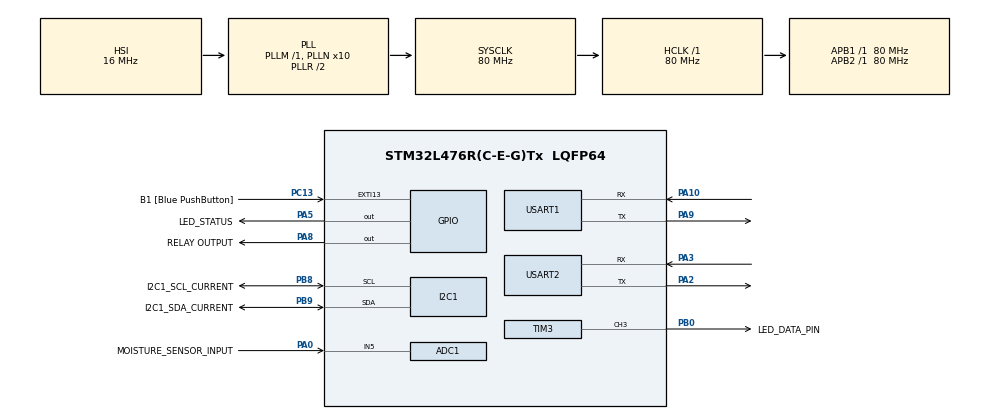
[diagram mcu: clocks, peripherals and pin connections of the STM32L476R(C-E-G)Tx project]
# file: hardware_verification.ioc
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ADC1.Channel-0\#ChannelRegularConversion=ADC_CHANNEL_5
ADC1.NbrOfConversionFlag=1
ADC1.OffsetNumber-0\#ChannelRegularConversion=ADC_OFFSET_NONE
ADC1.Rank-0\#ChannelRegularConversion=1
ADC1.SamplingTime-0\#ChannelRegularConversion=ADC_SAMPLETIME_2CYCLES_5
ADC1.master=1
Dma.Request0=TIM3_CH3
Dma.TIM3_CH3.0.Direction=DMA_MEMORY_TO_PERIPH
Dma.TIM3_CH3.0.Instance=DMA1_Channel2
Dma.TIM3_CH3.0.MemDataAlignment=DMA_MDATAALIGN_HALFWORD
Dma.TIM3_CH3.0.MemInc=DMA_MINC_ENABLE
Dma.TIM3_CH3.0.Mode=DMA_NORMAL
Dma.TIM3_CH3.0.PeriphDataAlignment=DMA_PDATAALIGN_HALFWORD
Dma.TIM3_CH3.0.PeriphInc=DMA_PINC_DISABLE
Dma.TIM3_CH3.0.Priority=DMA_PRIORITY_VERY_HIGH
I2C1.Timing=0x10D19CE4
Mcu.Family=STM32L4
Mcu.Name=STM32L476R(C-E-G)Tx
Mcu.Package=LQFP64
NVIC.DMA1_Channel2_IRQn=true\:0\:0\:false\:false\:true\:false\:true\:true
NVIC.PriorityGroup=NVIC_PRIORITYGROUP_4
NVIC.USART1_IRQn=true\:0\:0\:false\:false\:true\:true\:true\:true
NVIC.USART2_IRQn=true\:0\:0\:false\:false\:true\:true\:true\:true
PA0.GPIO_Label=MOISTURE_SENSOR_INPUT
PA0.Signal=ADCx_IN5
PA10.Mode=Asynchronous
PA10.Signal=USART1_RX
PA13\ (JTMS-SWDIO).GPIO_Label=TMS
PA13\ (JTMS-SWDIO).Mode=Serial_Wire
PA13\ (JTMS-SWDIO).Signal=SYS_JTMS-SWDIO
PA14\ (JTCK-SWCLK).GPIO_Label=TCK
PA14\ (JTCK-SWCLK).Mode=Serial_Wire
PA14\ (JTCK-SWCLK).Signal=SYS_JTCK-SWCLK
PA2.Mode=Asynchronous
PA2.Signal=USART2_TX
PA3.Mode=Asynchronous
PA3.Signal=USART2_RX
PA5.GPIO_Label=LED_STATUS
PA5.Signal=GPIO_Output
PA8.GPIO_Label=RELAY OUTPUT
PA8.Signal=GPIO_Output
PA9.Mode=Asynchronous
PA9.Signal=USART1_TX
PB0.GPIO_Label=LED_DATA_PIN
PB0.GPIO_Speed=GPIO_SPEED_FREQ_VERY_HIGH
PB0.Signal=S_TIM3_CH3
PB3\ (JTDO-TRACESWO).GPIO_Label=SWO
PB3\ (JTDO-TRACESWO).Signal=SYS_JTDO-SWO
PB8.GPIO_Label=I2C1_SCL_CURRENT
PB8.GPIO_Pu=GPIO_PULLUP
PB8.Mode=I2C
PB8.Signal=I2C1_SCL
PB9.GPIO_Label=I2C1_SDA_CURRENT
PB9.GPIO_Pu=GPIO_PULLUP
PB9.Mode=I2C
PB9.Signal=I2C1_SDA
PC13.GPIO_Label=B1 [Blue PushButton]
PC13.GPIO_ModeDefaultEXTI=GPIO_MODE_IT_FALLING
PC13.GPIO_PuPd=GPIO_NOPULL
PC13.Signal=GPXTI13
PC14-OSC32_IN\ (PC14).Signal=RCC_OSC32_IN
PC15-OSC32_OUT\ (PC15).Signal=RCC_OSC32_OUT
PH0-OSC_IN\ (PH0).Mode=HSE-External-Oscillator
PH0-OSC_IN\ (PH0).Signal=RCC_OSC_IN
PH1-OSC_OUT\ (PH1).Mode=HSE-External-Oscillator
PH1-OSC_OUT\ (PH1).Signal=RCC_OSC_OUT
ProjectManager.HeapSize=0x200
ProjectManager.StackSize=0x400
ProjectManager.TargetToolchain=STM32CubeIDE
RCC.ADCFreq_Value=64000000
RCC.AHBFreq_Value=80000000
RCC.APB1Freq_Value=80000000
RCC.APB1TimFreq_Value=80000000
RCC.APB2Freq_Value=80000000
RCC.APB2TimFreq_Value=80000000
RCC.CortexFreq_Value=80000000
RCC.HCLKFreq_Value=80000000
RCC.HSE_VALUE=8000000
RCC.HSI_VALUE=16000000
RCC.LSE_VALUE=32768
RCC.MSI_VALUE=4000000
RCC.PLLN=10
RCC.PLLSourceVirtual=RCC_PLLSOURCE_HSI
RCC.PREFETCH_ENABLE=1
RCC.SYSCLKFreq_VALUE=80000000
RCC.SYSCLKSource=RCC_SYSCLKSOURCE_PLLCLK
RCC.USBFreq_Value=64000000
RCC.VCOOutputFreq_Value=160000000
SH.ADCx_IN5.0=ADC1_IN5,IN5-Single-Ended
SH.S_TIM3_CH3.0=TIM3_CH3,PWM Generation3 CH3
TIM3.Channel-PWM\ Generation3\ CH3=TIM_CHANNEL_3
TIM3.Period=99
USART1.VirtualMode-Asynchronous=VM_ASYNC
USART2.VirtualMode-Asynchronous=VM_ASYNC
VP_TIM3_VS_ClockSourceINT.Mode=Internal
board=NUCLEO-L476RG

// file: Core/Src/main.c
/* USER CODE BEGIN Header */
/**
  ******************************************************************************
  * @file           : main.c
  * @brief          : Relay Test
  ******************************************************************************
  * @attention
  *
  * Copyright (c) 2025 STMicroelectronics.
  * All rights reserved.
  *
  * Licensed under terms in LICENSE file in root directory.
  *
  ******************************************************************************
  */
/* USER CODE END Header */
#include <ina219.h>
#include <relay_pump.h>
#include "main.h"

/* USER CODE BEGIN Includes */
#include "ws28xx.h"
#include "uart_comms.h"
#include <stdio.h>
#include "NimaLTD.I-CUBE-WS28XX_conf.h"
#include "moisture_sensor.h"   // <-- REQUIRED so compiler sees MoistureSensor_Init
#include <stdint.h>
#include <uart_debug.h>
#include "stm32l4xx_hal.h"
#include "grow_led.h"
#include "rtos.h"
#include "rtos_tasks.h"
#include "system_state.h"
#include "uart_queue.h"
#include "moisture_model.h"

/* USER CODE END Includes */

ADC_HandleTypeDef hadc1;

I2C_HandleTypeDef hi2c1;

TIM_HandleTypeDef htim3;
DMA_HandleTypeDef hdma_tim3_ch3;

UART_HandleTypeDef huart1;
UART_HandleTypeDef huart2;

/* USER CODE BEGIN PV */
char msg[64];
/* USER CODE END PV */

void SystemClock_Config(void);
static void MX_GPIO_Init(void);
static void MX_DMA_Init(void);
static void MX_ADC1_Init(void);
static void MX_I2C1_Init(void);
static void MX_USART1_UART_Init(void);
static void MX_TIM3_Init(void);
static void MX_USART2_UART_Init(void);

int main(void)
{

  /* MCU Configuration--------------------------------------------------------*/

  /* Reset of all peripherals, Initializes the Flash interface and the Systick. */
  HAL_Init();

  /* Configure the system clock */
  SystemClock_Config();

  /* Initialize all configured peripherals */
  MX_GPIO_Init();
  MX_DMA_Init();
  MX_ADC1_Init();
  MX_I2C1_Init();
  MX_USART1_UART_Init();
  MX_TIM3_Init();
  MX_USART2_UART_Init();
  /* USER CODE BEGIN 2 */
  HAL_GPIO_WritePin(GPIOA, LED_STATUS_Pin|RELAY_OUTPUT_Pin, GPIO_PIN_RESET);

  // ========== MODULE INITIALIZATION ==========
      Debug_Print("System Boot...\r\n");

      MoistureSensor_Init();
      Pump_Init();

      // ----- GROW LED TEST SEQUENCE -----
      init_grow_leds();                // 1) init + show blue

      INA219_Init();

      Debug_Print("All Modules Initialized.\r\n");

  /* USER CODE END 2 */

  /* Infinite loop */
  /* USER CODE BEGIN WHILE */
      /* USER CODE BEGIN WHILE */
      // ----- STATE + UART + RTOS SETUP -----
      State_Init();        // sets AUTO mode, WET, no FAIL, LED purple

      UART_Init();         // starts UART1 RX interrupt for command parsing

      RTOS_Init();
      UQ_Init();

      // Add tasks: (function, initialState, period_ms)
      // Period values assume your RTOS template uses ms units.
      RTOS_AddTask(Task_UART,      1, 500);   // every 50 ms
      RTOS_AddTask(Task_Moisture,  1, 5000);   // every 5000 ms
      RTOS_AddTask(Task_INA219,    1, 5000);   // every 5000 ms
      RTOS_AddTask(Task_Pump,      1, 5000);   // every 200 ms
      RTOS_AddTask(Task_LED,       1, 10000);   // every 200 ms
      RTOS_AddTask(Task_Heartbeat, 1, 2000);  // every 2 s (debug)

      Debug_Print("RTOS: Tasks registered\r\n");

      // Start scheduler (never returns)

      while (1)
      {
    	  RTOS_Run();// small CPU break

      }

}

    /* USER CODE END WHILE */

void SystemClock_Config(void)
{
  RCC_OscInitTypeDef RCC_OscInitStruct = {0};
  RCC_ClkInitTypeDef RCC_ClkInitStruct = {0};

  /** Configure the main internal regulator output voltage
  */
  if (HAL_PWREx_ControlVoltageScaling(PWR_REGULATOR_VOLTAGE_SCALE1) != HAL_OK)
  {
    Error_Handler();
  }

  /** Initializes the RCC Oscillators according to the specified parameters
  * in the RCC_OscInitTypeDef structure.
  */
  RCC_OscInitStruct.OscillatorType = RCC_OSCILLATORTYPE_HSI;
  RCC_OscInitStruct.HSIState = RCC_HSI_ON;
  RCC_OscInitStruct.HSICalibrationValue = RCC_HSICALIBRATION_DEFAULT;
  RCC_OscInitStruct.PLL.PLLState = RCC_PLL_ON;
  RCC_OscInitStruct.PLL.PLLSource = RCC_PLLSOURCE_HSI;
  RCC_OscInitStruct.PLL.PLLM = 1;
  RCC_OscInitStruct.PLL.PLLN = 10;
  RCC_OscInitStruct.PLL.PLLP = RCC_PLLP_DIV7;
  RCC_OscInitStruct.PLL.PLLQ = RCC_PLLQ_DIV2;
  RCC_OscInitStruct.PLL.PLLR = RCC_PLLR_DIV2;
  if (HAL_RCC_OscConfig(&RCC_OscInitStruct) != HAL_OK)
  {
    Error_Handler();
  }

  /** Initializes the CPU, AHB and APB buses clocks
  */
  RCC_ClkInitStruct.ClockType = RCC_CLOCKTYPE_HCLK|RCC_CLOCKTYPE_SYSCLK
                              |RCC_CLOCKTYPE_PCLK1|RCC_CLOCKTYPE_PCLK2;
  RCC_ClkInitStruct.SYSCLKSource = RCC_SYSCLKSOURCE_PLLCLK;
  RCC_ClkInitStruct.AHBCLKDivider = RCC_SYSCLK_DIV1;
  RCC_ClkInitStruct.APB1CLKDivider = RCC_HCLK_DIV1;
  RCC_ClkInitStruct.APB2CLKDivider = RCC_HCLK_DIV1;

  if (HAL_RCC_ClockConfig(&RCC_ClkInitStruct, FLASH_LATENCY_4) != HAL_OK)
  {
    Error_Handler();
  }
}

static void MX_ADC1_Init(void)
{

  ADC_MultiModeTypeDef multimode = {0};
  ADC_ChannelConfTypeDef sConfig = {0};

  /** Common config
  */
  hadc1.Instance = ADC1;
  hadc1.Init.ClockPrescaler = ADC_CLOCK_ASYNC_DIV1;
  hadc1.Init.Resolution = ADC_RESOLUTION_12B;
  hadc1.Init.DataAlign = ADC_DATAALIGN_RIGHT;
  hadc1.Init.ScanConvMode = ADC_SCAN_DISABLE;
  hadc1.Init.EOCSelection = ADC_EOC_SINGLE_CONV;
  hadc1.Init.LowPowerAutoWait = DISABLE;
  hadc1.Init.ContinuousConvMode = DISABLE;
  hadc1.Init.NbrOfConversion = 1;
  hadc1.Init.DiscontinuousConvMode = DISABLE;
  hadc1.Init.ExternalTrigConv = ADC_SOFTWARE_START;
  hadc1.Init.ExternalTrigConvEdge = ADC_EXTERNALTRIGCONVEDGE_NONE;
  hadc1.Init.DMAContinuousRequests = DISABLE;
  hadc1.Init.Overrun = ADC_OVR_DATA_PRESERVED;
  hadc1.Init.OversamplingMode = DISABLE;
  if (HAL_ADC_Init(&hadc1) != HAL_OK)
  {
    Error_Handler();
  }

  /** Configure the ADC multi-mode
  */
  multimode.Mode = ADC_MODE_INDEPENDENT;
  if (HAL_ADCEx_MultiModeConfigChannel(&hadc1, &multimode) != HAL_OK)
  {
    Error_Handler();
  }

  /** Configure Regular Channel
  */
  sConfig.Channel = ADC_CHANNEL_5;
  sConfig.Rank = ADC_REGULAR_RANK_1;
  sConfig.SamplingTime = ADC_SAMPLETIME_2CYCLES_5;
  sConfig.SingleDiff = ADC_SINGLE_ENDED;
  sConfig.OffsetNumber = ADC_OFFSET_NONE;
  sConfig.Offset = 0;
  if (HAL_ADC_ConfigChannel(&hadc1, &sConfig) != HAL_OK)
  {
    Error_Handler();
  }

}

static void MX_I2C1_Init(void)
{

  hi2c1.Instance = I2C1;
  hi2c1.Init.Timing = 0x10D19CE4;
  hi2c1.Init.OwnAddress1 = 0;
  hi2c1.Init.AddressingMode = I2C_ADDRESSINGMODE_7BIT;
  hi2c1.Init.DualAddressMode = I2C_DUALADDRESS_DISABLE;
  hi2c1.Init.OwnAddress2 = 0;
  hi2c1.Init.OwnAddress2Masks = I2C_OA2_NOMASK;
  hi2c1.Init.GeneralCallMode = I2C_GENERALCALL_DISABLE;
  hi2c1.Init.NoStretchMode = I2C_NOSTRETCH_DISABLE;
  if (HAL_I2C_Init(&hi2c1) != HAL_OK)
  {
    Error_Handler();
  }

  /** Configure Analogue filter
  */
  if (HAL_I2CEx_ConfigAnalogFilter(&hi2c1, I2C_ANALOGFILTER_ENABLE) != HAL_OK)
  {
    Error_Handler();
  }

  /** Configure Digital filter
  */
  if (HAL_I2CEx_ConfigDigitalFilter(&hi2c1, 0) != HAL_OK)
  {
    Error_Handler();
  }

}

static void MX_TIM3_Init(void)
{

  TIM_ClockConfigTypeDef sClockSourceConfig = {0};
  TIM_MasterConfigTypeDef sMasterConfig = {0};
  TIM_OC_InitTypeDef sConfigOC = {0};

  htim3.Instance = TIM3;
  htim3.Init.Prescaler = 0;
  htim3.Init.CounterMode = TIM_COUNTERMODE_UP;
  htim3.Init.Period = 99;
  htim3.Init.ClockDivision = TIM_CLOCKDIVISION_DIV1;
  htim3.Init.AutoReloadPreload = TIM_AUTORELOAD_PRELOAD_DISABLE;
  if (HAL_TIM_Base_Init(&htim3) != HAL_OK)
  {
    Error_Handler();
  }
  sClockSourceConfig.ClockSource = TIM_CLOCKSOURCE_INTERNAL;
  if (HAL_TIM_ConfigClockSource(&htim3, &sClockSourceConfig) != HAL_OK)
  {
    Error_Handler();
  }
  if (HAL_TIM_PWM_Init(&htim3) != HAL_OK)
  {
    Error_Handler();
  }
  sMasterConfig.MasterOutputTrigger = TIM_TRGO_RESET;
  sMasterConfig.MasterSlaveMode = TIM_MASTERSLAVEMODE_DISABLE;
  if (HAL_TIMEx_MasterConfigSynchronization(&htim3, &sMasterConfig) != HAL_OK)
  {
    Error_Handler();
  }
  sConfigOC.OCMode = TIM_OCMODE_PWM1;
  sConfigOC.Pulse = 0;
  sConfigOC.OCPolarity = TIM_OCPOLARITY_HIGH;
  sConfigOC.OCFastMode = TIM_OCFAST_DISABLE;
  if (HAL_TIM_PWM_ConfigChannel(&htim3, &sConfigOC, TIM_CHANNEL_3) != HAL_OK)
  {
    Error_Handler();
  }
  HAL_TIM_MspPostInit(&htim3);

}

static void MX_USART1_UART_Init(void)
{

  huart1.Instance = USART1;
  huart1.Init.BaudRate = 115200;
  huart1.Init.WordLength = UART_WORDLENGTH_8B;
  huart1.Init.StopBits = UART_STOPBITS_1;
  huart1.Init.Parity = UART_PARITY_NONE;
  huart1.Init.Mode = UART_MODE_TX_RX;
  huart1.Init.HwFlowCtl = UART_HWCONTROL_NONE;
  huart1.Init.OverSampling = UART_OVERSAMPLING_16;
  huart1.Init.OneBitSampling = UART_ONE_BIT_SAMPLE_DISABLE;
  huart1.AdvancedInit.AdvFeatureInit = UART_ADVFEATURE_NO_INIT;
  if (HAL_UART_Init(&huart1) != HAL_OK)
  {
    Error_Handler();
  }

}

static void MX_USART2_UART_Init(void)
{

  huart2.Instance = USART2;
  huart2.Init.BaudRate = 115200;
  huart2.Init.WordLength = UART_WORDLENGTH_8B;
  huart2.Init.StopBits = UART_STOPBITS_1;
  huart2.Init.Parity = UART_PARITY_NONE;
  huart2.Init.Mode = UART_MODE_TX_RX;
  huart2.Init.HwFlowCtl = UART_HWCONTROL_NONE;
  huart2.Init.OverSampling = UART_OVERSAMPLING_16;
  huart2.Init.OneBitSampling = UART_ONE_BIT_SAMPLE_DISABLE;
  huart2.AdvancedInit.AdvFeatureInit = UART_ADVFEATURE_NO_INIT;
  if (HAL_UART_Init(&huart2) != HAL_OK)
  {
    Error_Handler();
  }

}

static void MX_DMA_Init(void)
{

  /* DMA controller clock enable */
  __HAL_RCC_DMA1_CLK_ENABLE();

  /* DMA interrupt init */
  /* DMA1_Channel2_IRQn interrupt configuration */
  HAL_NVIC_SetPriority(DMA1_Channel2_IRQn, 0, 0);
  HAL_NVIC_EnableIRQ(DMA1_Channel2_IRQn);

}

static void MX_GPIO_Init(void)
{
  GPIO_InitTypeDef GPIO_InitStruct = {0};

  /* GPIO Ports Clock Enable */
  __HAL_RCC_GPIOC_CLK_ENABLE();
  __HAL_RCC_GPIOH_CLK_ENABLE();
  __HAL_RCC_GPIOA_CLK_ENABLE();
  __HAL_RCC_GPIOB_CLK_ENABLE();

  /*Configure GPIO pin Output Level */
  HAL_GPIO_WritePin(GPIOA, LED_STATUS_Pin|RELAY_OUTPUT_Pin, GPIO_PIN_RESET);

  /*Configure GPIO pin : B1_Pin */
  GPIO_InitStruct.Pin = B1_Pin;
  GPIO_InitStruct.Mode = GPIO_MODE_IT_FALLING;
  GPIO_InitStruct.Pull = GPIO_NOPULL;
  HAL_GPIO_Init(B1_GPIO_Port, &GPIO_InitStruct);

  /*Configure GPIO pins : LED_STATUS_Pin RELAY_OUTPUT_Pin */
  GPIO_InitStruct.Pin = LED_STATUS_Pin|RELAY_OUTPUT_Pin;
  GPIO_InitStruct.Mode = GPIO_MODE_OUTPUT_PP;
  GPIO_InitStruct.Pull = GPIO_NOPULL;
  GPIO_InitStruct.Speed = GPIO_SPEED_FREQ_LOW;
  HAL_GPIO_Init(GPIOA, &GPIO_InitStruct);

}

/* USER CODE BEGIN 4 */
/* USER CODE BEGIN 4 */

// ======== BUTTON CALIBRATION HANDLING ========
uint32_t button_down_time = 0;
bool button_waiting_for_release = false;

void HAL_GPIO_EXTI_Callback(uint16_t GPIO_Pin)
{
    if (GPIO_Pin == B1_Pin)
    {
        // First edge = button pressed
        if (!button_waiting_for_release)
        {
            button_waiting_for_release = true;
            button_down_time = HAL_GetTick();
        }
        // Second edge = button released
        else
        {
            uint32_t held = HAL_GetTick() - button_down_time;
            button_waiting_for_release = false;

            if (held < 1000)
            {
                Debug_Print("BUTTON: Short press → Calibrate WET\r\n");
                Moisture_Calibrate_Wet();
            }
            else
            {
                Debug_Print("BUTTON: Long press → Calibrate DRY\r\n");
                Moisture_Calibrate_Dry();
            }
        }
    }
}

/* USER CODE END 4 */

/* USER CODE END 4 */

void Error_Handler(void)
{
  __disable_irq();
  while (1)
  {
  }
}
